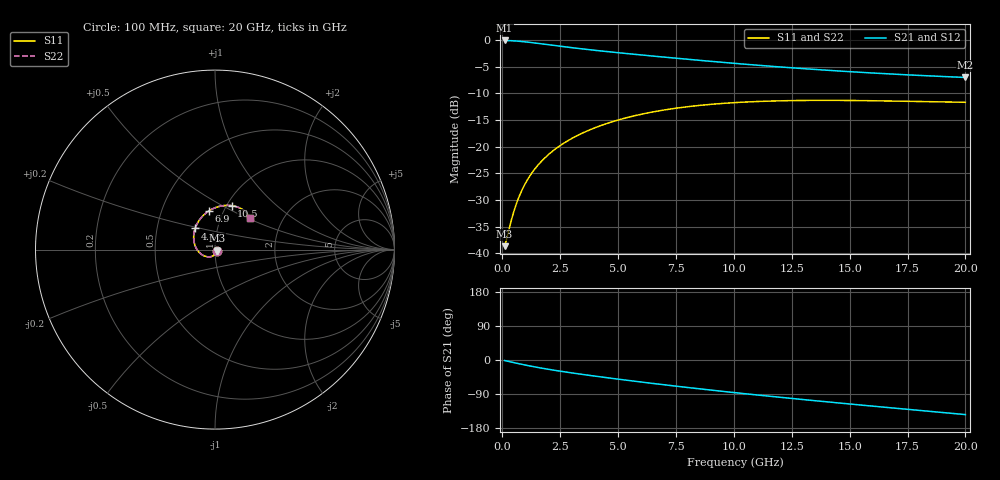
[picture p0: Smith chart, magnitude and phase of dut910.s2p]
! Touchstone file exported from HFSS 2024.1.0
!  File:  C:/UserFiles/LocalFiles/RDL_TSV_Batchsim/temp_RDL_TSV_910_1779955745.aedt
!  Generated:  04:25:09 PM May 28, 2026
!  Design:  RDL_TSV
!  Project:  temp_RDL_TSV_910_1779955745
!  Setup:  Setup1
!  Solution:  Sweep
! Variables:
!  dtsv = 12.87um
!  hbump = 3um
!  htsv = 85.38um
!  ldown = 198.41um
!  lrdl = 233.54um
!  p = 40
!  p1 = 41.52um
!  rhole = 10um
!  subl = 1529.39um
!  t = 450um
!  tdown = 3.39um
!  trdl = 4.53um
!  viad = 10um
!  wdown = 11.08um
!  wrdl = 15.41um
!  xbump = 18um
# GHz S MA R 50.000000
! Terminal data exported
! Port[1] = TM1_1_T1
! Port[2] = TM1_4_T1
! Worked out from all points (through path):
!   200 points, 100 MHz to 20 GHz, reference 50 ohm
!   highest |S21| = -0.10 dB at 100 MHz (marker M1); lowest = -7.0 dB at 20 GHz (marker M2)
!   group delay of S21, straight-line fit = 18.8 ps
!   lowest |S11| = -38.7 dB at 100 MHz (marker M3), VSWR 1.02, Z = 51.1 - j0.518 ohm
!   |S11| at or under -10 dB: start of sweep to end of sweep
!   |S22| runs from -38.7 to -11.3 dB; largest |S21 - S12| = 9.2e-15
!   S11 on the Smith chart (normalised r, x): 100 MHz: 1.02, -0.01; 4.4 GHz: 0.78, +0.19; 6.9 GHz: 0.86, +0.39; 10.5 GHz: 1.06, +0.55; 20 GHz: 1.37, +0.51
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0.1  0.01168 -25.8  0.9887 -1.4  0.9887 -1.4  0.01168 -25.8
! Gamma 0 0 0 0
! Port Impedance 50 0 50 0
0.4  0.0208 -75.1  0.9831 -5.6  0.9831 -5.6  0.0208 -75.1
0.5  0.02473 -85.1  0.9801 -6.9  0.9801 -6.9  0.02473 -85.1
0.7  0.03293 -101.2  0.9727 -9.6  0.9727 -9.6  0.03292 -101.2
1  0.04536 -120.1  0.9588 -13.4  0.9588 -13.4  0.04536 -120.1
1.3  0.05757 -135.7  0.9425 -17.0  0.9425 -17.0  0.05756 -135.7
1.7  0.07323 -153.4  0.919 -21.5  0.919 -21.5  0.07323 -153.4
2.2  0.09177 -172.1  0.8895 -26.7  0.8895 -26.7  0.09177 -172.1
2.8  0.1126 169.3  0.8563 -32.3  0.8563 -32.3  0.1126 169.3
3.5  0.1352 151.5  0.8217 -38.4  0.8217 -38.4  0.1352 151.5
4.4  0.1616 133.2  0.7826 -45.8  0.7826 -45.8  0.1617 133.2
5.6  0.1922 114.2  0.737 -55.1  0.737 -55.1  0.1923 114.2
6.8  0.2172 99.5  0.6961 -64.0  0.6961 -64.0  0.2173 99.5
6.9  0.219 98.4  0.6928 -64.8  0.6928 -64.8  0.2191 98.4
8.4  0.2421 84.1  0.6471 -75.3  0.6471 -75.3  0.2422 84.1
10.1  0.259 71.7  0.6014 -86.6  0.6014 -86.6  0.2592 71.7
10.5  0.2618 69.2  0.5916 -89.1  0.5916 -89.1  0.262 69.2
11.9  0.2685 61.6  0.5601 -97.8  0.5601 -97.8  0.2687 61.6
13.4  0.2713 55.2  0.5308 -106.8  0.5308 -106.8  0.2715 55.2
15  0.2708 49.9  0.5042 -116.1  0.5042 -116.1  0.271 49.9
16.7  0.2678 45.9  0.4805 -125.7  0.4805 -125.7  0.268 45.9
20  0.2604 42.0  0.445 -144.1  0.445 -144.1  0.2606 42.0
